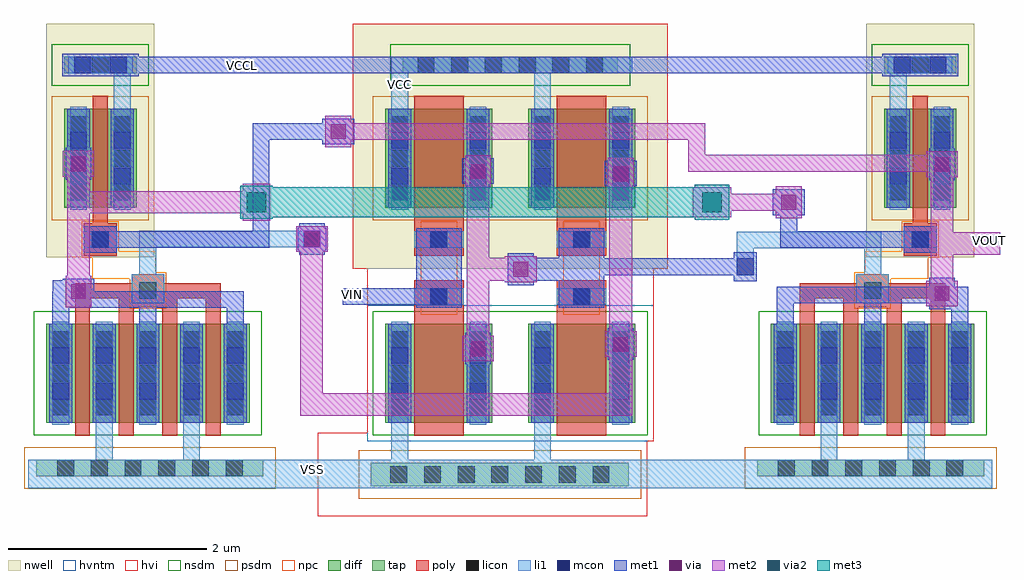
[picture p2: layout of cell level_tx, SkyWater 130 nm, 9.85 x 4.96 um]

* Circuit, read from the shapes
.subckt level_tx VCC VCCL VIN VOUT VSS
XM1 VSS n1 n2 VSS sky130_fd_pr__nfet_01v8 w=1 l=0.15 m=4
XM2 n3 VIN VSS VSS sky130_fd_pr__nfet_g5v0d10v5 w=1 l=0.5
XM3 n1 n3 VSS VSS sky130_fd_pr__nfet_g5v0d10v5 w=1 l=0.5
XM4 VSS n3 VOUT VSS sky130_fd_pr__nfet_01v8 w=1 l=0.15 m=4
XM5 VCCL VOUT n2 VCCL sky130_fd_pr__pfet_01v8 w=1 l=0.15
XM6 n3 VIN VCC VCC sky130_fd_pr__pfet_g5v0d10v5 w=1 l=0.5
XM7 n1 n3 VCC VCC sky130_fd_pr__pfet_g5v0d10v5 w=1 l=0.5
XM8 VOUT n2 VCCL VCCL sky130_fd_pr__pfet_01v8 w=1 l=0.15
.ends

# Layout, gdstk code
from math import pi, radians
import gdstk
lib = gdstk.Library(unit=1e-6, precision=1e-09)
def R(c, l, rs):  # rectangles x0, y0, x1, y1
    for r in rs: c.add(gdstk.rectangle(r[:2], r[2:], *l))
def A(c, l, x, y, w, h, nx, ny, dx, dy):  # array of equal rectangles
    R(c, l, [(x+i*dx, y+j*dy, x+i*dx+w, y+j*dy+h) for i in range(nx) for j in range(ny)])
nwell = (64, 20)
diff = (65, 20)
tap = (65, 44)
poly = (66, 20)
licon = (66, 44)
li1 = (67, 20)
mcon = (67, 44)
met1 = (68, 20)
via = (68, 44)
met2 = (69, 20)
via2 = (69, 44)
met3 = (70, 20)
hvi = (75, 20)
nsdm = (93, 44)
psdm = (94, 20)
npc = (95, 20)
hvntm = (125, 20)

sky130_fd_pr__nfet_01v8_ = lib.new_cell('sky130_fd_pr__nfet_01v8_6H9P4D')
R(sky130_fd_pr__nfet_01v8_, diff, [(-0.365,-0.5,0.365,0.5)])
R(sky130_fd_pr__nfet_01v8_, poly, [(-0.075,-0.63,0.075,0.63)])
A(sky130_fd_pr__nfet_01v8_, licon, -0.305, -0.425, 0.17, 0.17, 1, 3, 0, 0.34)
A(sky130_fd_pr__nfet_01v8_, licon, 0.135, -0.425, 0.17, 0.17, 1, 3, 0, 0.34)
R(sky130_fd_pr__nfet_01v8_, li1, [(-0.305,-0.52,-0.135,0.52), (0.135,-0.52,0.305,0.52)])
R(sky130_fd_pr__nfet_01v8_, mcon, [(-0.305,-0.265,-0.135,-0.095), (0.135,-0.265,0.305,-0.095), (-0.305,0.095,-0.135,0.265), (0.135,0.095,0.305,0.265)])
R(sky130_fd_pr__nfet_01v8_, met1, [(-0.335,-0.5,-0.105,0.5), (0.105,-0.5,0.335,0.5)])
R(sky130_fd_pr__nfet_01v8_, nsdm, [(-0.49,-0.625,0.49,0.625)])

sky130_fd_pr__pfet_01v8_ = lib.new_cell('sky130_fd_pr__pfet_01v8_LA8JHL')
R(sky130_fd_pr__pfet_01v8_, nwell, [(-0.545,-0.82,0.545,0.99)])
R(sky130_fd_pr__pfet_01v8_, diff, [(-0.365,-0.32,0.365,0.68)])
R(sky130_fd_pr__pfet_01v8_, poly, [(-0.165,-0.805,0.165,-0.475), (-0.075,-0.475,0.075,0.81)])
A(sky130_fd_pr__pfet_01v8_, licon, -0.305, -0.245, 0.17, 0.17, 1, 3, 0, 0.34)
A(sky130_fd_pr__pfet_01v8_, licon, 0.135, -0.245, 0.17, 0.17, 1, 3, 0, 0.34)
R(sky130_fd_pr__pfet_01v8_, licon, [(-0.085,-0.725,0.085,-0.555)])
R(sky130_fd_pr__pfet_01v8_, li1, [(-0.165,-0.725,0.165,-0.555), (-0.305,-0.34,-0.135,0.7), (0.135,-0.34,0.305,0.7)])
R(sky130_fd_pr__pfet_01v8_, mcon, [(-0.085,-0.725,0.085,-0.555), (-0.305,-0.085,-0.135,0.085), (0.135,-0.085,0.305,0.085), (-0.305,0.275,-0.135,0.445), (0.135,0.275,0.305,0.445)])
R(sky130_fd_pr__pfet_01v8_, met1, [(-0.145,-0.755,0.145,-0.525), (-0.335,-0.32,-0.105,0.68), (0.105,-0.32,0.335,0.68)])
R(sky130_fd_pr__pfet_01v8_, psdm, [(-0.49,-0.445,0.49,0.805)])
R(sky130_fd_pr__pfet_01v8_, npc, [(-0.185,-0.825,0.185,-0.455)])

sky130_fd_pr__nfet_g5v0d = lib.new_cell('sky130_fd_pr__nfet_g5v0d10v5_TNTERH')
R(sky130_fd_pr__nfet_g5v0d, diff, [(-0.54,-0.655,0.54,0.345)])
R(sky130_fd_pr__nfet_g5v0d, poly, [(-0.25,-0.785,0.25,0.785)])
A(sky130_fd_pr__nfet_g5v0d, licon, -0.48, -0.58, 0.17, 0.17, 1, 3, 0, 0.34)
A(sky130_fd_pr__nfet_g5v0d, licon, 0.31, -0.58, 0.17, 0.17, 1, 3, 0, 0.34)
R(sky130_fd_pr__nfet_g5v0d, licon, [(-0.085,0.535,0.085,0.705)])
R(sky130_fd_pr__nfet_g5v0d, li1, [(-0.48,-0.675,-0.31,0.365), (0.31,-0.675,0.48,0.365), (-0.25,0.535,0.25,0.705)])
R(sky130_fd_pr__nfet_g5v0d, mcon, [(-0.48,-0.42,-0.31,-0.25), (0.31,-0.42,0.48,-0.25), (-0.48,-0.06,-0.31,0.11), (0.31,-0.06,0.48,0.11), (-0.085,0.535,0.085,0.705)])
R(sky130_fd_pr__nfet_g5v0d, met1, [(-0.51,-0.655,-0.28,0.345), (0.28,-0.655,0.51,0.345), (-0.23,0.505,0.23,0.735)])
R(sky130_fd_pr__nfet_g5v0d, hvi, [(-0.725,-0.84,0.725,0.53)])
R(sky130_fd_pr__nfet_g5v0d, nsdm, [(-0.665,-0.78,0.665,0.47)])
R(sky130_fd_pr__nfet_g5v0d, npc, [(-0.185,0.435,0.185,0.805)])
R(sky130_fd_pr__nfet_g5v0d, hvntm, [(-0.725,-0.84,0.725,0.53)])

sky130_fd_pr__pfet_g5v0d = lib.new_cell('sky130_fd_pr__pfet_g5v0d10v5_YM4LZ5')
R(sky130_fd_pr__pfet_g5v0d, nwell, [(-0.72,-0.82,0.72,0.99)])
R(sky130_fd_pr__pfet_g5v0d, diff, [(-0.54,-0.32,0.54,0.68)])
R(sky130_fd_pr__pfet_g5v0d, poly, [(-0.25,-0.805,0.25,0.81)])
A(sky130_fd_pr__pfet_g5v0d, licon, -0.48, -0.245, 0.17, 0.17, 1, 3, 0, 0.34)
A(sky130_fd_pr__pfet_g5v0d, licon, 0.31, -0.245, 0.17, 0.17, 1, 3, 0, 0.34)
R(sky130_fd_pr__pfet_g5v0d, licon, [(-0.085,-0.725,0.085,-0.555)])
R(sky130_fd_pr__pfet_g5v0d, li1, [(-0.25,-0.725,0.25,-0.555), (-0.48,-0.34,-0.31,0.7), (0.31,-0.34,0.48,0.7)])
R(sky130_fd_pr__pfet_g5v0d, mcon, [(-0.085,-0.725,0.085,-0.555), (-0.48,-0.085,-0.31,0.085), (0.31,-0.085,0.48,0.085), (-0.48,0.275,-0.31,0.445), (0.31,0.275,0.48,0.445)])
R(sky130_fd_pr__pfet_g5v0d, met1, [(-0.23,-0.755,0.23,-0.525), (-0.51,-0.32,-0.28,0.68), (0.28,-0.32,0.51,0.68)])
R(sky130_fd_pr__pfet_g5v0d, hvi, [(-0.72,-0.82,0.72,-0.505), (-0.725,-0.505,0.725,0.865), (-0.72,0.865,0.72,0.99)])
R(sky130_fd_pr__pfet_g5v0d, psdm, [(-0.665,-0.445,0.665,0.805)])
R(sky130_fd_pr__pfet_g5v0d, npc, [(-0.185,-0.825,0.185,-0.455)])

level_tx = lib.new_cell('level_tx')
R(level_tx, nwell, [(-22.755,7.155,-19.575,9.625), (-25.845,7.27,-24.755,9.625), (-17.575,7.27,-16.485,7.335), (-17.575,7.335,-17.22,7.615), (-16.86,7.335,-16.485,7.615), (-17.575,7.615,-16.485,9.625)])
R(level_tx, tap, [(-22.57,4.96,-19.97,5.2), (-25.945,5.06,-23.655,5.23), (-18.675,5.06,-16.385,5.23), (-25.665,9.125,-24.935,9.295), (-22.25,9.125,-20.08,9.295), (-17.395,9.125,-16.665,9.295)])
R(level_tx, poly, [(-25.115,6.635,-24.965,6.765), (-17.365,6.635,-17.215,6.765), (-24.235,6.655,-24.085,6.86), (-18.245,6.655,-18.095,6.86), (-24.675,6.66,-24.525,6.765), (-17.805,6.66,-17.655,6.765), (-25.555,6.71,-25.405,6.86), (-16.925,6.71,-16.775,6.86), (-25.115,6.765,-24.525,6.86), (-17.805,6.765,-17.215,6.86), (-25.555,6.86,-24.085,7.01), (-18.245,6.86,-16.775,7.01), (-24.985,7.01,-24.655,7.1), (-17.675,7.01,-17.345,7.1)])
A(level_tx, licon, -22.375, 4.995, 0.17, 0.17, 7, 1, 0.34, 0)
A(level_tx, licon, -25.735, 5.06, 0.17, 0.17, 6, 1, 0.34, 0)
A(level_tx, licon, -18.465, 5.06, 0.17, 0.17, 6, 1, 0.34, 0)
A(level_tx, licon, -22.1, 9.125, 0.17, 0.17, 6, 1, 0.34, 0)
R(level_tx, licon, [(-24.905,6.85,-24.735,7.02), (-17.595,6.85,-17.425,7.02), (-25.385,9.125,-25.215,9.295), (-17.115,9.125,-16.945,9.295)])
R(level_tx, li1, [(-26.025,4.94,-16.305,5.23), (-25.345,5.23,-25.175,5.695), (-24.465,5.23,-24.295,5.695), (-22.365,5.23,-22.195,5.765), (-20.925,5.23,-20.755,5.615), (-18.035,5.23,-17.865,5.695), (-17.155,5.23,-16.985,5.695), (-22.21,5.765,-22.195,5.78), (-24.985,6.805,-24.655,7.1), (-17.675,6.805,-17.345,7.1), (-18.88,7.09,-18.71,7.36), (-24.905,7.1,-24.735,7.37), (-17.595,7.1,-17.425,7.36), (-18.88,7.36,-17.425,7.53), (-24.905,7.37,-23.08,7.54), (-22.365,7.83,-22.195,9.125), (-20.925,7.83,-20.755,9.125), (-20.135,7.83,-19.965,8.19), (-17.335,7.83,-17.165,9.125), (-25.165,8.615,-24.995,9.125), (-25.625,9.125,-24.975,9.295), (-22.365,9.125,-19.935,9.295), (-17.355,9.125,-16.705,9.295)])
R(level_tx, mcon, [(-18.88,7.09,-18.71,7.26), (-23.25,7.37,-23.08,7.54), (-25.565,9.125,-25.395,9.295), (-25.205,9.125,-25.035,9.295), (-17.295,9.125,-17.125,9.295), (-16.935,9.125,-16.765,9.295)])
R(level_tx, met1, [(-21.575,5.66,-21.405,6.19), (-20.135,5.66,-19.965,6.235), (-21.62,6.19,-21.36,6.51), (-20.18,6.235,-19.92,6.555), (-24.025,6.435,-23.855,6.76), (-18.475,6.435,-18.305,6.805), (-24.905,6.49,-24.735,6.76), (-17.595,6.49,-17.425,6.805), (-21.605,6.51,-21.375,6.585), (-25.785,6.535,-25.615,6.76), (-16.715,6.535,-16.545,6.745), (-16.94,6.745,-16.545,6.805), (-25.785,6.76,-23.855,6.93), (-22.115,6.76,-21.655,6.79), (-20.675,6.76,-20.215,7.035), (-22.855,6.79,-21.655,6.96), (-18.475,6.805,-16.545,6.975), (-25.78,6.93,-25.36,7.04), (-22.115,6.96,-21.655,7.53), (-16.94,6.975,-16.68,7.065), (-21.19,6.99,-20.93,7.035), (-18.91,7.03,-18.68,7.09), (-21.19,7.035,-20.215,7.09), (-25.68,7.04,-25.36,7.055), (-21.19,7.09,-18.68,7.26), (-21.19,7.26,-20.215,7.265), (-18.91,7.26,-18.68,7.32), (-21.19,7.265,-20.93,7.31), (-20.675,7.265,-20.215,7.53), (-23.295,7.295,-23.035,7.34), (-25.465,7.315,-25.135,7.365), (-17.195,7.315,-16.865,7.365), (-23.31,7.34,-23.02,7.57), (-25.465,7.365,-23.595,7.535), (-18.44,7.365,-16.865,7.535), (-25.465,7.535,-25.135,7.585), (-23.765,7.535,-23.595,8.455), (-18.44,7.535,-18.27,7.695), (-17.195,7.535,-16.865,7.585), (-23.295,7.57,-23.035,7.615), (-18.515,7.695,-18.195,7.955), (-25.605,7.83,-25.435,8.055), (-16.895,7.83,-16.725,8.05), (-20.21,7.985,-19.89,8.245), (-21.65,8.01,-21.33,8.27), (-16.94,8.05,-16.68,8.37), (-25.65,8.055,-25.39,8.375), (-20.165,8.245,-19.935,8.51), (-21.605,8.27,-21.375,8.535), (-16.895,8.37,-16.725,8.71), (-25.605,8.375,-25.435,8.71), (-20.955,8.375,-20.945,8.49), (-23.06,8.41,-22.74,8.455), (-23.765,8.455,-22.74,8.625), (-23.06,8.625,-22.74,8.67), (-25.685,9.095,-24.915,9.125), (-17.415,9.095,-16.645,9.125), (-25.685,9.125,-16.645,9.295), (-25.685,9.295,-24.915,9.325), (-17.415,9.295,-16.645,9.325)])
R(level_tx, via, [(-21.565,6.275,-21.415,6.425), (-20.125,6.32,-19.975,6.47), (-16.885,6.83,-16.735,6.98), (-25.595,6.85,-25.445,7), (-21.135,7.075,-20.985,7.225), (-23.24,7.38,-23.09,7.53), (-18.43,7.75,-18.28,7.9), (-20.125,8.04,-19.975,8.19), (-21.565,8.065,-21.415,8.215), (-16.885,8.135,-16.735,8.285), (-25.595,8.14,-25.445,8.29), (-22.975,8.465,-22.825,8.615)])
R(level_tx, met2, [(-23.285,5.67,-19.935,5.9), (-23.285,5.9,-23.055,7.325), (-20.165,5.9,-19.935,6.265), (-21.65,6.22,-21.33,6.48), (-20.21,6.265,-19.89,6.525), (-21.605,6.48,-21.375,7.035), (-20.165,6.525,-19.935,7.955), (-25.65,6.765,-25.39,7.085), (-16.97,6.775,-16.65,7.035), (-21.22,7.02,-20.9,7.035), (-21.605,7.035,-20.9,7.265), (-16.925,7.035,-16.695,7.295), (-25.635,7.085,-25.405,7.715), (-21.605,7.265,-21.375,7.98), (-21.22,7.265,-20.9,7.28), (-16.925,7.295,-16.225,7.525), (-23.325,7.325,-23.005,7.585), (-16.925,7.525,-16.695,8.08), (-23.865,7.64,-23.585,7.715), (-18.485,7.665,-18.225,7.74), (-19.325,7.675,-18.935,7.74), (-25.635,7.715,-23.585,7.935), (-19.325,7.74,-18.225,7.91), (-19.325,7.91,-18.935,7.975), (-18.485,7.91,-18.225,7.985), (-25.635,7.935,-25.405,8.085), (-23.865,7.935,-23.585,8.01), (-20.18,7.955,-19.92,8.275), (-21.62,7.98,-21.36,8.3), (-16.97,8.08,-16.65,8.135), (-25.68,8.085,-25.36,8.345), (-19.37,8.135,-16.65,8.305), (-19.37,8.305,-19.2,8.455), (-16.97,8.305,-16.65,8.34), (-23.03,8.38,-22.77,8.455), (-23.03,8.455,-19.2,8.625), (-23.03,8.625,-22.77,8.7)])
R(level_tx, via2, [(-23.825,7.725,-23.625,7.925), (-19.23,7.725,-19.03,7.925)])
R(level_tx, met3, [(-19.305,7.65,-18.955,7.675), (-23.89,7.66,-23.56,7.675), (-23.89,7.675,-18.955,7.975), (-23.89,7.975,-23.56,7.99), (-19.305,7.975,-18.955,8)])
R(level_tx, hvi, [(-23.105,4.66,-19.785,5.5), (-22.61,6.785,-19.72,7.155), (-22.755,7.155,-19.575,9.625)])
R(level_tx, nsdm, [(-21.22,5.475,-21.11,6.725), (-25.79,9,-24.81,9.42), (-22.375,9,-19.955,9.42), (-17.52,9,-16.54,9.42)])
R(level_tx, psdm, [(-22.695,4.835,-19.845,5.325), (-26.07,4.935,-23.53,5.355), (-18.8,4.935,-16.26,5.355), (-21.22,7.645,-21.11,8.895)])
R(level_tx, npc, [(-25.005,6.75,-24.635,7.055), (-17.695,6.75,-17.325,7.055), (-25.38,7.055,-24.635,7.12), (-17.695,7.055,-16.95,7.12), (-22.07,7.06,-21.7,7.265), (-20.63,7.06,-20.26,7.265), (-25.38,7.12,-24.74,7.265), (-17.59,7.12,-16.95,7.265), (-25.115,7.265,-24.74,7.33), (-17.59,7.265,-17.215,7.33)])
level_tx.add(gdstk.Reference(sky130_fd_pr__nfet_01v8_, (-25.48,6.1), rotation=pi, x_reflection=True))
level_tx.add(gdstk.Reference(sky130_fd_pr__nfet_01v8_, (-25.04,6.1), rotation=pi, x_reflection=True))
level_tx.add(gdstk.Reference(sky130_fd_pr__nfet_01v8_, (-24.16,6.1), rotation=pi, x_reflection=True))
level_tx.add(gdstk.Reference(sky130_fd_pr__nfet_01v8_, (-24.6,6.1), rotation=pi, x_reflection=True))
level_tx.add(gdstk.Reference(sky130_fd_pr__pfet_01v8_, (-25.3,8.09), rotation=pi, x_reflection=True))
level_tx.add(gdstk.Reference(sky130_fd_pr__nfet_g5v0d, (-21.885,6.255)))
level_tx.add(gdstk.Reference(sky130_fd_pr__pfet_g5v0d, (-21.885,8.09)))
level_tx.add(gdstk.Reference(sky130_fd_pr__nfet_g5v0d, (-20.445,6.255)))
level_tx.add(gdstk.Reference(sky130_fd_pr__pfet_g5v0d, (-20.445,8.09)))
level_tx.add(gdstk.Reference(sky130_fd_pr__nfet_01v8_, (-17.73,6.1)))
level_tx.add(gdstk.Reference(sky130_fd_pr__nfet_01v8_, (-18.17,6.1)))
level_tx.add(gdstk.Reference(sky130_fd_pr__nfet_01v8_, (-17.29,6.1)))
level_tx.add(gdstk.Reference(sky130_fd_pr__nfet_01v8_, (-16.85,6.1)))
level_tx.add(gdstk.Reference(sky130_fd_pr__pfet_01v8_, (-17.03,8.09)))
level_tx.add(gdstk.Label('VCCL', (-23.87,9.205), layer=68, texttype=5))
level_tx.add(gdstk.Label('VIN', (-22.76,6.895), layer=68, texttype=5))
level_tx.add(gdstk.Label('VOUT', (-16.335,7.445), layer=69, texttype=5))
level_tx.add(gdstk.Label('VCC', (-22.28,9.01), layer=67, texttype=5))
level_tx.add(gdstk.Label('VSS', (-23.155,5.13), layer=67, texttype=5))

lib.write_gds('level_tx.gds')
